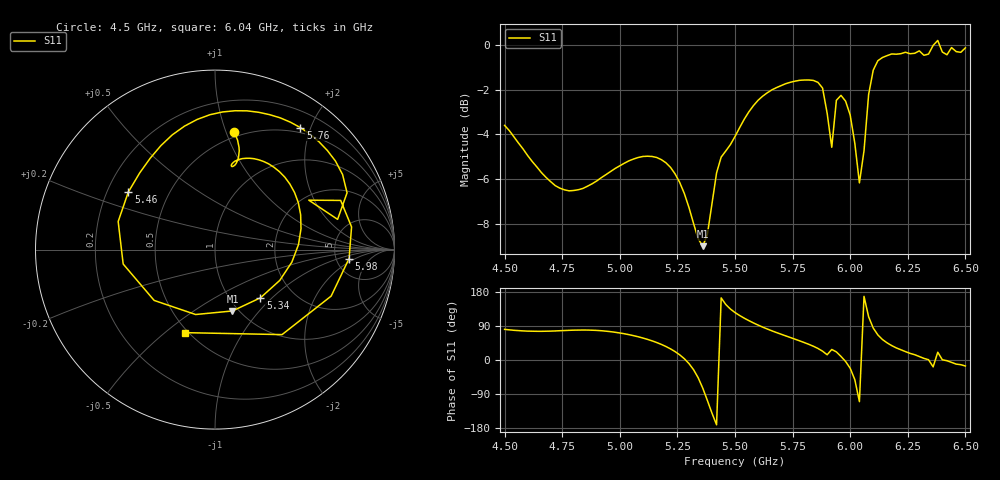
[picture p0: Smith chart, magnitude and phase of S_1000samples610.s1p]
! TOUCHSTONE file generated by CST MICROWAVE STUDIO
! Date and time: Fri Oct 28 18:36:52 2022
! Project name: L.cst
! Parameters = {Di=1.27; Epsilon_r=1.56; InnerDiameter=1.27; Length=2; Lf=10; Lg=60; OuterConductorThickness=0.2921; OuterDiameter=3.6; Wf=3; Wp=41.2; de=1.5; df=6.8; g=0.8; gx=0.990999; gy=4.33504; h=2.34; hf=1.524; px=13.7543; py=9.69459; w=9.7; wx=12.7633; wy=5.35955}
! Header version: 2018
! Port assignment regex: !\s*Touchstone port\s*([0-9]+)\s*=\s*(CST MWS port|CST DS port)\s*([0-9]+|Zmin|Zmax)\s*\(\"(.*)\"\)(\s*mode\s*([0-9]+))?.*
! Touchstone port assignment:
! Touchstone port 1 = CST MWS port 1 ("")
# GHz S DB R 50
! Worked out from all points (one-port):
!   101 points, 4.5 GHz to 6.5 GHz, reference 50 ohm
!   lowest |S11| = -9.0 dB at 5.36 GHz (marker M1), VSWR 2.10, Z = 46.9 - j36.7 ohm
!   |S11| at or under -10 dB: nowhere
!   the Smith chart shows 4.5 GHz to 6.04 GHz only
!   S11 on the Smith chart (normalised r, x): 4.5 GHz: 0.46, +1.06; 5.34 GHz: 1.37, -0.85; 5.46 GHz: 0.29, +0.28; 5.76 GHz: 0.42, +1.84; 5.98 GHz: 6.61, -1.50; 6.04 GHz: 0.48, -0.59
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4.5  -3.59 80.8
4.76  -6.47 77.8
5  -5.40 71.3
5.14  -4.98 50.5
5.26  -6.14 13.6
5.34  -8.66 -46.7
5.36  -8.99 -74.2
5.42  -5.72 -171.1
5.46  -4.74 146.4
5.5  -4.09 125.3
5.62  -2.29 86.8
5.76  -1.62 55.0
5.9  -3.05 13.9
5.92  -4.57 27.8
5.94  -2.48 21.4
5.98  -2.51 -3.8
6  -3.13 -21.8
6.04  -6.16 -109.9
6.06  -4.73 167.9
6.08  -2.22 114.0
6.1  -1.13 84.3
6.16  -0.48 45.3
6.26  -0.40 17.5
6.34  -0.41 0.8
6.36  -0.02 -18.1
6.38  0.20 20.5
6.4  -0.32 0.6
6.5  -0.13 -15.8
